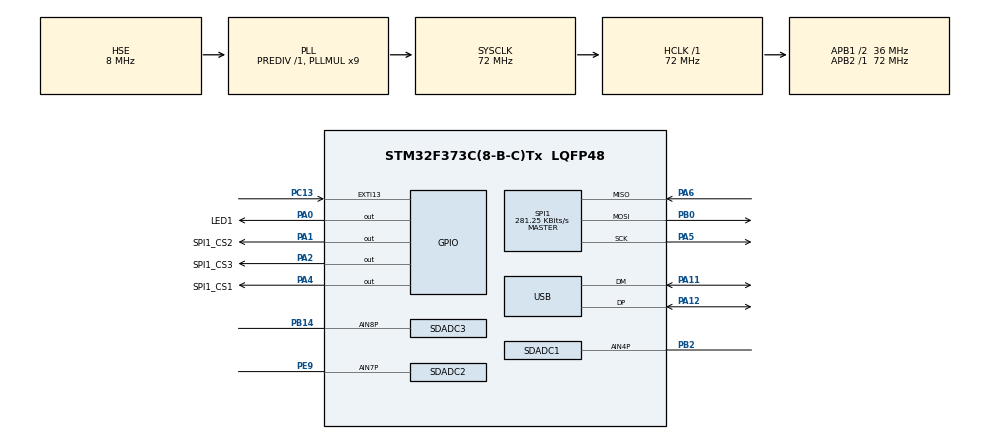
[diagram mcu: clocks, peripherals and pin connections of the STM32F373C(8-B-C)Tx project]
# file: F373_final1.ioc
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Dma.Request0=SDADC1
Dma.Request1=SDADC2
Dma.Request2=SDADC3
Dma.SDADC1.0.Direction=DMA_PERIPH_TO_MEMORY
Dma.SDADC1.0.Instance=DMA2_Channel3
Dma.SDADC1.0.MemDataAlignment=DMA_MDATAALIGN_HALFWORD
Dma.SDADC1.0.MemInc=DMA_MINC_ENABLE
Dma.SDADC1.0.Mode=DMA_CIRCULAR
Dma.SDADC1.0.PeriphDataAlignment=DMA_PDATAALIGN_HALFWORD
Dma.SDADC1.0.PeriphInc=DMA_PINC_DISABLE
Dma.SDADC1.0.Priority=DMA_PRIORITY_LOW
Dma.SDADC2.1.Direction=DMA_PERIPH_TO_MEMORY
Dma.SDADC2.1.Instance=DMA2_Channel4
Dma.SDADC2.1.MemDataAlignment=DMA_MDATAALIGN_HALFWORD
Dma.SDADC2.1.MemInc=DMA_MINC_ENABLE
Dma.SDADC2.1.Mode=DMA_CIRCULAR
Dma.SDADC2.1.PeriphDataAlignment=DMA_PDATAALIGN_HALFWORD
Dma.SDADC2.1.PeriphInc=DMA_PINC_DISABLE
Dma.SDADC2.1.Priority=DMA_PRIORITY_LOW
Dma.SDADC3.2.Direction=DMA_PERIPH_TO_MEMORY
Dma.SDADC3.2.Instance=DMA2_Channel5
Dma.SDADC3.2.MemDataAlignment=DMA_MDATAALIGN_HALFWORD
Dma.SDADC3.2.MemInc=DMA_MINC_ENABLE
Dma.SDADC3.2.Mode=DMA_CIRCULAR
Dma.SDADC3.2.PeriphDataAlignment=DMA_PDATAALIGN_HALFWORD
Dma.SDADC3.2.PeriphInc=DMA_PINC_DISABLE
Dma.SDADC3.2.Priority=DMA_PRIORITY_LOW
Mcu.Family=STM32F3
Mcu.Name=STM32F373C(8-B-C)Tx
Mcu.Package=LQFP48
NVIC.DMA2_Channel3_IRQn=true\:2\:0\:true\:false\:true\:false\:true
NVIC.DMA2_Channel4_IRQn=true\:2\:0\:true\:false\:true\:false\:true
NVIC.DMA2_Channel5_IRQn=true\:2\:0\:true\:false\:true\:false\:true
NVIC.EXTI15_10_IRQn=true\:5\:0\:true\:false\:true\:true\:true
NVIC.PriorityGroup=NVIC_PRIORITYGROUP_4
NVIC.USB_LP_IRQn=true\:0\:0\:false\:false\:true\:false\:true
PA0.GPIO_Label=LED1
PA0.GPIO_Speed=GPIO_SPEED_FREQ_HIGH
PA0.Signal=GPIO_Output
PA1.GPIO_Label=SPI1_CS2
PA1.GPIO_Speed=GPIO_SPEED_FREQ_HIGH
PA1.PinState=GPIO_PIN_SET
PA1.Signal=GPIO_Output
PA11.Mode=Device
PA11.Signal=USB_DM
PA12.Mode=Device
PA12.Signal=USB_DP
PA13.Mode=Trace_Asynchronous_SW
PA13.Signal=SYS_JTMS-SWDIO
PA14.Mode=Trace_Asynchronous_SW
PA14.Signal=SYS_JTCK-SWCLK
PA2.GPIO_Label=SPI1_CS3
PA2.GPIO_Speed=GPIO_SPEED_FREQ_HIGH
PA2.PinState=GPIO_PIN_SET
PA2.Signal=GPIO_Output
PA4.GPIO_Label=SPI1_CS1
PA4.GPIO_Speed=GPIO_SPEED_FREQ_HIGH
PA4.PinState=GPIO_PIN_SET
PA4.Signal=GPIO_Output
PA5.Mode=Full_Duplex_Master
PA5.Signal=SPI1_SCK
PA6.Mode=Full_Duplex_Master
PA6.Signal=SPI1_MISO
PB0.Mode=Full_Duplex_Master
PB0.Signal=SPI1_MOSI
PB14.Mode=IN8-Single-Ended zero reference
PB14.Signal=SDADC3_AIN8P
PB2.Mode=IN4-Single-Ended zero reference
PB2.Signal=SDADC1_AIN4P
PB3.Mode=Trace_Asynchronous_SW
PB3.Signal=SYS_JTDO-TRACESWO
PC13.GPIO_ModeDefaultEXTI=GPIO_MODE_IT_RISING_FALLING
PC13.Signal=GPXTI13
PE9.Mode=IN7-Single-Ended zero reference
PE9.Signal=SDADC2_AIN7P
PF0-OSC_IN.Mode=HSE-External-Oscillator
PF0-OSC_IN.Signal=RCC_OSC_IN
PF1-OSC_OUT.Mode=HSE-External-Oscillator
PF1-OSC_OUT.Signal=RCC_OSC_OUT
ProjectManager.HeapSize=0x200
ProjectManager.StackSize=0x400
ProjectManager.TargetToolchain=STM32CubeIDE
RCC.AHBFreq_Value=72000000
RCC.APB1CLKDivider=RCC_HCLK_DIV2
RCC.APB1Freq_Value=36000000
RCC.APB1TimFreq_Value=72000000
RCC.APB2Freq_Value=72000000
RCC.APB2TimFreq_Value=72000000
RCC.CortexFreq_Value=72000000
RCC.HCLKFreq_Value=72000000
RCC.HSE_VALUE=8000000
RCC.HSI_VALUE=8000000
RCC.LSE_VALUE=32768
RCC.PLLMUL=RCC_PLL_MUL9
RCC.PRESCALERUSB=RCC_USBCLKSOURCE_PLL_DIV1_5
RCC.SDADCPresc=RCC_SDADCSYSCLK_DIV12
RCC.SYSCLKFreq_VALUE=72000000
RCC.SYSCLKSource=RCC_SYSCLKSOURCE_PLLCLK
RCC.USBFreq_Value=48000000
SDADC1.Channel-0\#ChannelRegularConversion=SDADC_CHANNEL_4
SDADC1.ConfIndex-0\#ChannelRegularConversion=SDADC_CONF_INDEX_0
SDADC1.ContinuousMode=SDADC_CONTINUOUS_CONV_ON
SDADC1.EnableRegularconversion=ENABLE
SDADC1.FastConversionMode=SDADC_FAST_CONV_ENABLE
SDADC1.Gain0=SDADC_GAIN_1
SDADC1.InputMode0=SDADC_INPUT_MODE_SE_ZERO_REFERENCE
SDADC1.NbrOfConversionFlag=1
SDADC1.ReferenceVoltage=SDADC_VREF_VDDA
SDADC2.Channel-0\#ChannelRegularConversion=SDADC_CHANNEL_7
SDADC2.ConfIndex-0\#ChannelRegularConversion=SDADC_CONF_INDEX_0
SDADC2.ContinuousMode=SDADC_CONTINUOUS_CONV_ON
SDADC2.EnableRegularconversion=ENABLE
SDADC2.FastConversionMode=SDADC_FAST_CONV_ENABLE
SDADC2.InputMode0=SDADC_INPUT_MODE_SE_ZERO_REFERENCE
SDADC2.NbrOfConversionFlag=1
SDADC2.ReferenceVoltage=SDADC_VREF_VDDA
SDADC2.Trigger=SDADC_SOFTWARE_TRIGGER
SDADC3.Channel-0\#ChannelRegularConversion=SDADC_CHANNEL_8
SDADC3.ConfIndex-0\#ChannelRegularConversion=SDADC_CONF_INDEX_0
SDADC3.ContinuousMode=SDADC_CONTINUOUS_CONV_ON
SDADC3.EnableRegularconversion=ENABLE
SDADC3.FastConversionMode=SDADC_FAST_CONV_ENABLE
SDADC3.InputMode0=SDADC_INPUT_MODE_SE_ZERO_REFERENCE
SDADC3.NbrOfConversionFlag=1
SDADC3.ReferenceVoltage=SDADC_VREF_VDDA
SDADC3.Trigger=SDADC_SOFTWARE_TRIGGER
SPI1.BaudRatePrescaler=SPI_BAUDRATEPRESCALER_256
SPI1.CLKPhase=SPI_PHASE_2EDGE
SPI1.CalculateBaudRate=281.25 KBits/s
SPI1.DataSize=SPI_DATASIZE_8BIT
SPI1.Direction=SPI_DIRECTION_2LINES
SPI1.Mode=SPI_MODE_MASTER
SPI1.VirtualType=VM_MASTER
USB_DEVICE.CLASS_NAME_FS=CDC
USB_DEVICE.PRODUCT_STRING_CDC_FS=F373 USB Virtual COM Port
USB_DEVICE.VirtualMode=Cdc
USB_DEVICE.VirtualModeFS=Cdc_FS
VP_SDADC1_CONF0.Mode=ConfigZero
VP_SDADC2_CONF0.Mode=ConfigZero
VP_SDADC3_CONF0.Mode=ConfigZero
VP_USB_DEVICE_VS_USB_DEVICE_CDC_FS.Mode=CDC_FS
board=custom

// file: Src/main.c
/* USER CODE BEGIN Header */
/**
  ******************************************************************************
  * @file           : main.c
  * @brief          : Main program body
  ******************************************************************************
  * @attention
  *
  * <h2><center>&copy; Copyright (c) 2019 STMicroelectronics.
  * All rights reserved.</center></h2>
  *
  * This software component is licensed by ST under BSD 3-Clause license,
  * the "License"; You may not use this file except in compliance with the
  * License. You may obtain a copy of the License at:
  *                        opensource.org/licenses/BSD-3-Clause
  *
  ******************************************************************************
  */
/* USER CODE END Header */

#include "main.h"
#include "usb_device.h"

/* USER CODE BEGIN Includes */
#include "usbd_cdc_if.h"
#include <string.h>
#include "fifo.h" // my custom "library" for FIFO ring-buffer
#include <stdbool.h>
#include <stdlib.h>
#include <stdio.h>
/* USER CODE END Includes */

/* USER CODE BEGIN PD */
//#define DEBUG // enable debug output
#define BUF_LEN 1000 // length (in Bytes) of a USB packet

/* USER CODE END PD */

SDADC_HandleTypeDef hsdadc1;
SDADC_HandleTypeDef hsdadc2;
SDADC_HandleTypeDef hsdadc3;
DMA_HandleTypeDef hdma_sdadc1;
DMA_HandleTypeDef hdma_sdadc2;
DMA_HandleTypeDef hdma_sdadc3;

SPI_HandleTypeDef hspi1;

/* USER CODE BEGIN PV */
// adc data buffers
uint16_t sdadc1_data_buf[BUF_LEN];
uint16_t sdadc2_data_buf[BUF_LEN];
uint16_t sdadc3_data_buf[BUF_LEN];
// flags
volatile bool sdadc1_half_complete = false;
volatile bool sdadc1_full_complete = false;
volatile bool sdadc2_half_complete = false;
volatile bool sdadc2_full_complete = false;
volatile bool sdadc3_half_complete = false;
volatile bool sdadc3_full_complete = false;
volatile bool recording_trigger = false;
// register configuration values for the ADA4350 amplifier
const uint32_t ADA4350_SDO_DISABLE = (1<<14);
const uint32_t ADA4350_M1_DISABLE = (1<<15);
const uint32_t ADA4350_FB0_INT_CAP = 0x00002041;
const uint32_t ADA4350_FB0 = 0x00000041;
const uint32_t ADA4350_FB1 = 0x00000082;
const uint32_t ADA4350_FB2 = 0x00000104;
const uint32_t ADA4350_FB3 = 0x00000208;
const uint32_t ADA4350_FB4 = 0x00000410;
const uint32_t ADA4350_FB5 = 0x00000820;
/* USER CODE END PV */

void SystemClock_Config(void);
static void MX_GPIO_Init(void);
static void MX_DMA_Init(void);
static void MX_SDADC1_Init(void);
static void MX_SDADC2_Init(void);
static void MX_SDADC3_Init(void);
static void MX_SPI1_Init(void);

/* USER CODE BEGIN 0 */
// select one of the 6 gain paths (gain factors) of the ADA4350 amplifier (gain path 0-5)
// return the 24bit configuration that has to be written to the ADA4350 register
// to configure the gain path
uint32_t ADA4350_parse_config(uint8_t gain_path){
	switch(gain_path){
	case 0:
		return ADA4350_FB0_INT_CAP;
	case 1:
		return ADA4350_FB1;
	case 2:
		return ADA4350_FB2;
	case 3:
		return ADA4350_FB3;
	case 4:
		return ADA4350_FB4;
	case 5:
		return ADA4350_FB5;
	default:
		return ADA4350_FB0_INT_CAP;
	}
}
// write a configuration to the ADA4350 amplifier via SPI
// first two parameters specify the slave-select (CS) GPIO pin for the amplifier
// (since we have 3 amplifiers connected to the SPI bus)
// 3rd parameter is the register configuration to be written
void ADA4350_set_config(GPIO_TypeDef* CS_gpio_port, uint16_t CS_pin, uint32_t data){
	// CS low to select slave
	HAL_GPIO_WritePin(CS_gpio_port, CS_pin, GPIO_PIN_RESET);
	uint8_t data_byte[3];
	data_byte[0] = (uint8_t) ( (data>>16) & 0xFF );
	data_byte[1] = (uint8_t) ( (data>>8) & 0xFF );
	data_byte[2] = (uint8_t) (data & 0xFF);
	HAL_SPI_Transmit(&hspi1, data_byte, 3, 100);
	// CS high to deselect slave
	HAL_GPIO_WritePin(CS_gpio_port, CS_pin, GPIO_PIN_SET);
}
// read back the configuration of the ADA4350 amplifier via SPI
// first two parameters specify the slave-select (CS) GPIO pin for the amplifier
// (since we have 3 amplifiers connected to the SPI bus)
// return value is the register configuration
uint32_t ADA4350_read_config(GPIO_TypeDef* CS_gpio_port, uint16_t CS_pin){
	// set 23rd bit to 1 to read register content
	uint8_t data_byte[3] = {(1<<7), 0x00, 0x00};
	uint8_t result_buf[3];
	// CS low to select slave
	HAL_GPIO_WritePin(CS_gpio_port, CS_pin, GPIO_PIN_RESET);
	HAL_SPI_TransmitReceive(&hspi1, data_byte, result_buf, 3, HAL_TIMEOUT);
	// CS high to deselect slave
	HAL_GPIO_WritePin(CS_gpio_port, CS_pin, GPIO_PIN_SET);
	uint32_t register_content = (result_buf[0]<<16) | (result_buf[1]<<8) | result_buf[2];
	return register_content;
}

// process AD-conversion and data transmission
void adc_dma_usb_tx(){
		// check if USB is ready to transmit a new packet
		if( CDC_get_tx_flag() == CDC_TX_READY ){
			/* check each DMA transfer for completion
			 * if a half transfer is complete, send first half of buffer
			 * if a (full) transfer is complete, send second half of buffer
			 * NOTE: because CDC_Transmit() sends an array of bytes (uint8_t) and our samples are 2bytes (uint16_t) each
			 * we need to cast the pointer and choose the length correctly, i.e. we have BUF_LEN/2 uint16_t samples
			 * which equals to BUF_LEN uint8_t bytes
			 */
			if( sdadc1_half_complete ){
				// clear flag
				sdadc1_half_complete = false;
				// transmit packet via USB
				CDC_Transmit_FS((uint8_t*)sdadc1_data_buf, BUF_LEN);
			}
			else if( sdadc2_half_complete ){
				sdadc2_half_complete = false;
				CDC_Transmit_FS((uint8_t*)sdadc2_data_buf, BUF_LEN);
			}
			else if( sdadc3_half_complete ){
				sdadc3_half_complete = false;
				CDC_Transmit_FS((uint8_t*)sdadc3_data_buf, BUF_LEN);
			}
			else if( sdadc1_full_complete ){
				sdadc1_full_complete = false;
				CDC_Transmit_FS( (uint8_t*)(&sdadc1_data_buf[BUF_LEN/2]), BUF_LEN);
			}
			else if( sdadc2_full_complete ){
				sdadc2_full_complete = false;
				CDC_Transmit_FS( (uint8_t*)(&sdadc2_data_buf[BUF_LEN/2]), BUF_LEN);
			}
			else if( sdadc3_full_complete ){
				sdadc3_full_complete = false;
				CDC_Transmit_FS( (uint8_t*)(&sdadc3_data_buf[BUF_LEN/2]), BUF_LEN);
			}
		}

}
/* USER CODE END 0 */

int main(void)
{

  /* MCU Configuration--------------------------------------------------------*/

  /* Reset of all peripherals, Initializes the Flash interface and the Systick. */
  HAL_Init();

  /* Configure the system clock */
  SystemClock_Config();

  /* Initialize all configured peripherals */
  MX_GPIO_Init();
  MX_DMA_Init();
  MX_USB_DEVICE_Init();
  MX_SDADC1_Init();
  MX_SDADC2_Init();
  MX_SDADC3_Init();
  MX_SPI1_Init();
  /* USER CODE BEGIN 2 */
  // disable external interrupt (trigger input from SLM)
  HAL_NVIC_DisableIRQ(EXTI15_10_IRQn);
  // turn LED on
  HAL_GPIO_WritePin(GPIOA, GPIO_PIN_0, GPIO_PIN_RESET);
  // do offset calibration procedure for all 3 SDADCs
  HAL_SDADC_CalibrationStart(&hsdadc1, SDADC_CALIBRATION_SEQ_1);
  HAL_SDADC_PollForCalibEvent(&hsdadc1, 10);
  HAL_SDADC_CalibrationStart(&hsdadc2, SDADC_CALIBRATION_SEQ_1);
  HAL_SDADC_PollForCalibEvent(&hsdadc2, 10);
  HAL_SDADC_CalibrationStart(&hsdadc3, SDADC_CALIBRATION_SEQ_1);
  HAL_SDADC_PollForCalibEvent(&hsdadc3, 10);
  // turn LED off
  HAL_GPIO_WritePin(GPIOA, GPIO_PIN_0, GPIO_PIN_SET);
  // re-enable external interrupt
  HAL_NVIC_EnableIRQ(EXTI15_10_IRQn);

  /* USER CODE END 2 */

  /* Infinite loop */
  while (1)
  {

    /* USER CODE BEGIN 3 */
	  // check if there's something in the USB RX Reception buffer
	  if( FIFO_8_get_num_elements(&usb_cdc_rx_fifo) > 0 ){
		  /* 'G' character to set gain path (gain factor) of the 3 amplifiers
		   * command format is 'G' + gain path1 + gain path2 + gain path3 +'\n'
		   * e.g. 'G123\n' to set gain path 1 for amplifier1, gain path 2 for amplifier2 etc.
		   * gain path number can be from 0 to 5
		   */
		  // read one received character from the RX fifo buffer
		  uint8_t c = 0;
		  FIFO_8_get(&usb_cdc_rx_fifo, &c);
		  if( c == 'G'){
			  // read another 3 characters and convert the characters to integers
			  uint8_t gain_path[3] = {0, 0, 0};
			  for(uint8_t i=0; i<3; ++i){
				  FIFO_8_get(&usb_cdc_rx_fifo, &gain_path[i]);
				  gain_path[i] -= '0'; // ASCII to integer conversion
			  }
			  // write the configuration to each of the 3 amplifiers via SPI interface
			  ADA4350_set_config(SPI1_CS1_GPIO_Port, SPI1_CS1_Pin, ADA4350_parse_config(gain_path[0]));
			  ADA4350_set_config(SPI1_CS2_GPIO_Port, SPI1_CS2_Pin, ADA4350_parse_config(gain_path[1]));
			  ADA4350_set_config(SPI1_CS3_GPIO_Port, SPI1_CS3_Pin, ADA4350_parse_config(gain_path[2]));
			  // wait until USB is ready
			  while( CDC_get_tx_flag() == CDC_TX_BUSY );
			  // send back "OK"+gain configuration+\n, e.g. "OK123\n"
			  uint8_t msg[6] = { 'O', 'K', gain_path[0]+'0', gain_path[1]+'0', gain_path[2]+'0', '\n'};
			  // transmit message over USB
			  CDC_Transmit_FS(msg, 6);
		  }
	  }

	  // check trigger flag
	  if( recording_trigger ){
		  // turn LED on
		  HAL_GPIO_WritePin(GPIOA, GPIO_PIN_0, GPIO_PIN_RESET);
		  // start all 3 SDADCs + DMA
		  HAL_SDADC_Start_DMA(&hsdadc1, (uint32_t*)sdadc1_data_buf, BUF_LEN);
		  HAL_SDADC_Start_DMA(&hsdadc2, (uint32_t*)sdadc2_data_buf, BUF_LEN);
		  HAL_SDADC_Start_DMA(&hsdadc3, (uint32_t*)sdadc3_data_buf, BUF_LEN);
		  // record and stream data while trigger signal is high
		  while( recording_trigger ){
			  // stream data over USB
			  adc_dma_usb_tx();
		  }
		  // trigger has gone low now
		  // stop SDADCs and DMA
		  HAL_SDADC_Stop_DMA(&hsdadc1);
		  HAL_SDADC_Stop_DMA(&hsdadc2);
		  HAL_SDADC_Stop_DMA(&hsdadc3);
		  // reset all flags
		  sdadc1_half_complete = false;
		  sdadc1_full_complete = false;
		  sdadc2_half_complete = false;
		  sdadc2_full_complete = false;
		  sdadc3_half_complete = false;
		  sdadc3_full_complete = false;
		  // turn LED off
		  HAL_GPIO_WritePin(GPIOA, GPIO_PIN_0, GPIO_PIN_SET);
	  }

  }
  /* USER CODE END 3 */
}

void SystemClock_Config(void)
{
  RCC_OscInitTypeDef RCC_OscInitStruct = {0};
  RCC_ClkInitTypeDef RCC_ClkInitStruct = {0};
  RCC_PeriphCLKInitTypeDef PeriphClkInit = {0};

  /** Initializes the CPU, AHB and APB busses clocks
  */
  RCC_OscInitStruct.OscillatorType = RCC_OSCILLATORTYPE_HSE;
  RCC_OscInitStruct.HSEState = RCC_HSE_ON;
  RCC_OscInitStruct.HSEPredivValue = RCC_HSE_PREDIV_DIV1;
  RCC_OscInitStruct.HSIState = RCC_HSI_ON;
  RCC_OscInitStruct.PLL.PLLState = RCC_PLL_ON;
  RCC_OscInitStruct.PLL.PLLSource = RCC_PLLSOURCE_HSE;
  RCC_OscInitStruct.PLL.PLLMUL = RCC_PLL_MUL9;
  if (HAL_RCC_OscConfig(&RCC_OscInitStruct) != HAL_OK)
  {
    Error_Handler();
  }
  /** Initializes the CPU, AHB and APB busses clocks
  */
  RCC_ClkInitStruct.ClockType = RCC_CLOCKTYPE_HCLK|RCC_CLOCKTYPE_SYSCLK
                              |RCC_CLOCKTYPE_PCLK1|RCC_CLOCKTYPE_PCLK2;
  RCC_ClkInitStruct.SYSCLKSource = RCC_SYSCLKSOURCE_PLLCLK;
  RCC_ClkInitStruct.AHBCLKDivider = RCC_SYSCLK_DIV1;
  RCC_ClkInitStruct.APB1CLKDivider = RCC_HCLK_DIV2;
  RCC_ClkInitStruct.APB2CLKDivider = RCC_HCLK_DIV1;

  if (HAL_RCC_ClockConfig(&RCC_ClkInitStruct, FLASH_LATENCY_2) != HAL_OK)
  {
    Error_Handler();
  }
  PeriphClkInit.PeriphClockSelection = RCC_PERIPHCLK_USB|RCC_PERIPHCLK_SDADC;
  PeriphClkInit.USBClockSelection = RCC_USBCLKSOURCE_PLL_DIV1_5;
  PeriphClkInit.SdadcClockSelection = RCC_SDADCSYSCLK_DIV12;
  if (HAL_RCCEx_PeriphCLKConfig(&PeriphClkInit) != HAL_OK)
  {
    Error_Handler();
  }
  HAL_PWREx_EnableSDADC(PWR_SDADC_ANALOG1);
  HAL_PWREx_EnableSDADC(PWR_SDADC_ANALOG2);
  HAL_PWREx_EnableSDADC(PWR_SDADC_ANALOG3);
}

static void MX_SDADC1_Init(void)
{

  SDADC_ConfParamTypeDef ConfParamStruct = {0};

  /** Configure the SDADC low power mode, fast conversion mode,
  slow clock mode and SDADC1 reference voltage
  */
  hsdadc1.Instance = SDADC1;
  hsdadc1.Init.IdleLowPowerMode = SDADC_LOWPOWER_NONE;
  hsdadc1.Init.FastConversionMode = SDADC_FAST_CONV_ENABLE;
  hsdadc1.Init.SlowClockMode = SDADC_SLOW_CLOCK_DISABLE;
  hsdadc1.Init.ReferenceVoltage = SDADC_VREF_VDDA;
  if (HAL_SDADC_Init(&hsdadc1) != HAL_OK)
  {
    Error_Handler();
  }
  /** Configure The Regular Mode
  */
  if (HAL_SDADC_SelectRegularTrigger(&hsdadc1, SDADC_SOFTWARE_TRIGGER) != HAL_OK)
  {
    Error_Handler();
  }
  /** Set parameters for SDADC configuration 0 Register
  */
  ConfParamStruct.InputMode = SDADC_INPUT_MODE_SE_ZERO_REFERENCE;
  ConfParamStruct.Gain = SDADC_GAIN_1;
  ConfParamStruct.CommonMode = SDADC_COMMON_MODE_VSSA;
  ConfParamStruct.Offset = 0;
  if (HAL_SDADC_PrepareChannelConfig(&hsdadc1, SDADC_CONF_INDEX_0, &ConfParamStruct) != HAL_OK)
  {
    Error_Handler();
  }
  /** Configure the Regular Channel
  */
  if (HAL_SDADC_AssociateChannelConfig(&hsdadc1, SDADC_CHANNEL_4, SDADC_CONF_INDEX_0) != HAL_OK)
  {
    Error_Handler();
  }
  if (HAL_SDADC_ConfigChannel(&hsdadc1, SDADC_CHANNEL_4, SDADC_CONTINUOUS_CONV_ON) != HAL_OK)
  {
    Error_Handler();
  }

}

static void MX_SDADC2_Init(void)
{

  SDADC_ConfParamTypeDef ConfParamStruct = {0};

  /** Configure the SDADC low power mode, fast conversion mode,
  slow clock mode and SDADC1 reference voltage
  */
  hsdadc2.Instance = SDADC2;
  hsdadc2.Init.IdleLowPowerMode = SDADC_LOWPOWER_NONE;
  hsdadc2.Init.FastConversionMode = SDADC_FAST_CONV_ENABLE;
  hsdadc2.Init.SlowClockMode = SDADC_SLOW_CLOCK_DISABLE;
  hsdadc2.Init.ReferenceVoltage = SDADC_VREF_VDDA;
  if (HAL_SDADC_Init(&hsdadc2) != HAL_OK)
  {
    Error_Handler();
  }
  /** Configure The Regular Mode
  */
  if (HAL_SDADC_SelectRegularTrigger(&hsdadc2, SDADC_SOFTWARE_TRIGGER) != HAL_OK)
  {
    Error_Handler();
  }
  /** Set parameters for SDADC configuration 0 Register
  */
  ConfParamStruct.InputMode = SDADC_INPUT_MODE_SE_ZERO_REFERENCE;
  ConfParamStruct.Gain = SDADC_GAIN_1;
  ConfParamStruct.CommonMode = SDADC_COMMON_MODE_VSSA;
  ConfParamStruct.Offset = 0;
  if (HAL_SDADC_PrepareChannelConfig(&hsdadc2, SDADC_CONF_INDEX_0, &ConfParamStruct) != HAL_OK)
  {
    Error_Handler();
  }
  /** Configure the Regular Channel
  */
  if (HAL_SDADC_AssociateChannelConfig(&hsdadc2, SDADC_CHANNEL_7, SDADC_CONF_INDEX_0) != HAL_OK)
  {
    Error_Handler();
  }
  if (HAL_SDADC_ConfigChannel(&hsdadc2, SDADC_CHANNEL_7, SDADC_CONTINUOUS_CONV_ON) != HAL_OK)
  {
    Error_Handler();
  }

}

static void MX_SDADC3_Init(void)
{

  SDADC_ConfParamTypeDef ConfParamStruct = {0};

  /** Configure the SDADC low power mode, fast conversion mode,
  slow clock mode and SDADC1 reference voltage
  */
  hsdadc3.Instance = SDADC3;
  hsdadc3.Init.IdleLowPowerMode = SDADC_LOWPOWER_NONE;
  hsdadc3.Init.FastConversionMode = SDADC_FAST_CONV_ENABLE;
  hsdadc3.Init.SlowClockMode = SDADC_SLOW_CLOCK_DISABLE;
  hsdadc3.Init.ReferenceVoltage = SDADC_VREF_VDDA;
  if (HAL_SDADC_Init(&hsdadc3) != HAL_OK)
  {
    Error_Handler();
  }
  /** Configure The Regular Mode
  */
  if (HAL_SDADC_SelectRegularTrigger(&hsdadc3, SDADC_SOFTWARE_TRIGGER) != HAL_OK)
  {
    Error_Handler();
  }
  /** Set parameters for SDADC configuration 0 Register
  */
  ConfParamStruct.InputMode = SDADC_INPUT_MODE_SE_ZERO_REFERENCE;
  ConfParamStruct.Gain = SDADC_GAIN_1;
  ConfParamStruct.CommonMode = SDADC_COMMON_MODE_VSSA;
  ConfParamStruct.Offset = 0;
  if (HAL_SDADC_PrepareChannelConfig(&hsdadc3, SDADC_CONF_INDEX_0, &ConfParamStruct) != HAL_OK)
  {
    Error_Handler();
  }
  /** Configure the Regular Channel
  */
  if (HAL_SDADC_AssociateChannelConfig(&hsdadc3, SDADC_CHANNEL_8, SDADC_CONF_INDEX_0) != HAL_OK)
  {
    Error_Handler();
  }
  if (HAL_SDADC_ConfigChannel(&hsdadc3, SDADC_CHANNEL_8, SDADC_CONTINUOUS_CONV_ON) != HAL_OK)
  {
    Error_Handler();
  }

}

static void MX_SPI1_Init(void)
{

  /* SPI1 parameter configuration*/
  hspi1.Instance = SPI1;
  hspi1.Init.Mode = SPI_MODE_MASTER;
  hspi1.Init.Direction = SPI_DIRECTION_2LINES;
  hspi1.Init.DataSize = SPI_DATASIZE_8BIT;
  hspi1.Init.CLKPolarity = SPI_POLARITY_LOW;
  hspi1.Init.CLKPhase = SPI_PHASE_2EDGE;
  hspi1.Init.NSS = SPI_NSS_SOFT;
  hspi1.Init.BaudRatePrescaler = SPI_BAUDRATEPRESCALER_256;
  hspi1.Init.FirstBit = SPI_FIRSTBIT_MSB;
  hspi1.Init.TIMode = SPI_TIMODE_DISABLE;
  hspi1.Init.CRCCalculation = SPI_CRCCALCULATION_DISABLE;
  hspi1.Init.CRCPolynomial = 7;
  hspi1.Init.CRCLength = SPI_CRC_LENGTH_DATASIZE;
  hspi1.Init.NSSPMode = SPI_NSS_PULSE_DISABLE;
  if (HAL_SPI_Init(&hspi1) != HAL_OK)
  {
    Error_Handler();
  }

}

static void MX_DMA_Init(void)
{

  /* DMA controller clock enable */
  __HAL_RCC_DMA2_CLK_ENABLE();

  /* DMA interrupt init */
  /* DMA2_Channel3_IRQn interrupt configuration */
  HAL_NVIC_SetPriority(DMA2_Channel3_IRQn, 2, 0);
  HAL_NVIC_EnableIRQ(DMA2_Channel3_IRQn);
  /* DMA2_Channel4_IRQn interrupt configuration */
  HAL_NVIC_SetPriority(DMA2_Channel4_IRQn, 2, 0);
  HAL_NVIC_EnableIRQ(DMA2_Channel4_IRQn);
  /* DMA2_Channel5_IRQn interrupt configuration */
  HAL_NVIC_SetPriority(DMA2_Channel5_IRQn, 2, 0);
  HAL_NVIC_EnableIRQ(DMA2_Channel5_IRQn);

}

static void MX_GPIO_Init(void)
{
  GPIO_InitTypeDef GPIO_InitStruct = {0};

  /* GPIO Ports Clock Enable */
  __HAL_RCC_GPIOC_CLK_ENABLE();
  __HAL_RCC_GPIOF_CLK_ENABLE();
  __HAL_RCC_GPIOA_CLK_ENABLE();
  __HAL_RCC_GPIOB_CLK_ENABLE();
  __HAL_RCC_GPIOE_CLK_ENABLE();

  /*Configure GPIO pin Output Level */
  HAL_GPIO_WritePin(LED1_GPIO_Port, LED1_Pin, GPIO_PIN_RESET);

  /*Configure GPIO pin Output Level */
  HAL_GPIO_WritePin(GPIOA, SPI1_CS2_Pin|SPI1_CS3_Pin|SPI1_CS1_Pin, GPIO_PIN_SET);

  /*Configure GPIO pin : PC13 */
  GPIO_InitStruct.Pin = GPIO_PIN_13;
  GPIO_InitStruct.Mode = GPIO_MODE_IT_RISING_FALLING;
  GPIO_InitStruct.Pull = GPIO_NOPULL;
  HAL_GPIO_Init(GPIOC, &GPIO_InitStruct);

  /*Configure GPIO pins : LED1_Pin SPI1_CS2_Pin SPI1_CS3_Pin SPI1_CS1_Pin */
  GPIO_InitStruct.Pin = LED1_Pin|SPI1_CS2_Pin|SPI1_CS3_Pin|SPI1_CS1_Pin;
  GPIO_InitStruct.Mode = GPIO_MODE_OUTPUT_PP;
  GPIO_InitStruct.Pull = GPIO_NOPULL;
  GPIO_InitStruct.Speed = GPIO_SPEED_FREQ_HIGH;
  HAL_GPIO_Init(GPIOA, &GPIO_InitStruct);

  /* EXTI interrupt init*/
  HAL_NVIC_SetPriority(EXTI15_10_IRQn, 5, 0);
  HAL_NVIC_EnableIRQ(EXTI15_10_IRQn);

}

/* USER CODE BEGIN 4 */
// redirect stdout to SWO Trace interface for debugging messages
int _write(int file, char* ptr, int len) {
	int DataIdx;
	for(DataIdx=0; DataIdx<len; DataIdx++){
		ITM_SendChar(*ptr++);
	}
	return len;
}
// SDADC DMA Half Transfer Complete ISR
void HAL_SDADC_ConvHalfCpltCallback(SDADC_HandleTypeDef* hsdadc){
	// check which ADC has triggered the interrupt and set the corresponding flag
	if( hsdadc == &hsdadc1 ){
		sdadc1_half_complete = true;
	}else if( hsdadc == &hsdadc2 ){
		sdadc2_half_complete = true;
	}else if( hsdadc == &hsdadc3 ){
		sdadc3_half_complete = true;
	}
}

// SDADC DMA (Full) Transfer Complete ISR
void HAL_SDADC_ConvCpltCallback(SDADC_HandleTypeDef* hsdadc){
	// check which ADC has triggered the interrupt and set the corresponding flag
	if( hsdadc->Instance == SDADC1 ){
		sdadc1_full_complete = true;
	}else if( hsdadc->Instance == SDADC2 ){
		sdadc2_full_complete = true;
	}else if( hsdadc->Instance == SDADC3 ){
		sdadc3_full_complete = true;
	}
}
// external pin interrupt (trigger signal)
void HAL_GPIO_EXTI_Callback(uint16_t GPIO_Pin){
	// check if indeed pin PC13 has triggered the interrupt
	if( GPIO_Pin == GPIO_PIN_13 ){
		// if pin level is high, it has to be a rising edge
		if( HAL_GPIO_ReadPin(GPIOC, GPIO_PIN_13) == GPIO_PIN_SET ){
			// set flag
			recording_trigger = true;
		}
		// else it´s a falling edge
		else if( HAL_GPIO_ReadPin(GPIOC, GPIO_PIN_13) == GPIO_PIN_RESET ){
			// set flag
			recording_trigger = false;
		}
	}
}
/* USER CODE END 4 */

void Error_Handler(void)
{
}

/************************ (C) COPYRIGHT STMicroelectronics *****END OF FILE****/
